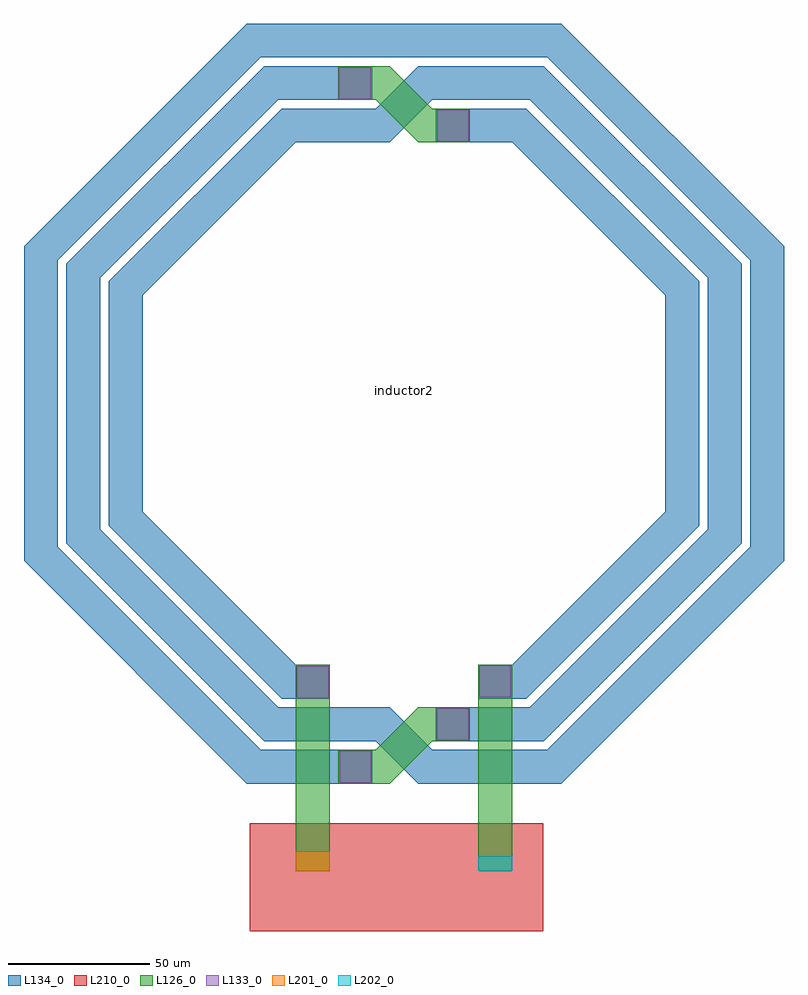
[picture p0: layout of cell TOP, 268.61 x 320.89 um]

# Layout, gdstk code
import gdstk
lib = gdstk.Library(unit=1e-6, precision=1e-09)
def R(c, l, rs):  # rectangles x0, y0, x1, y1
    for r in rs: c.add(gdstk.rectangle(r[:2], r[2:], *l))
def P(c, l, *ps):  # polygons
    for p in ps: c.add(gdstk.Polygon(p, *l))
L126_0 = (126, 0)
L133_0 = (133, 0)
L134_0 = (134, 0)
L201_0 = (201, 0)
L202_0 = (202, 0)
L210_0 = (210, 0)

top = lib.new_cell('TOP')
P(top, L126_0, [(4.31,426.46),(-10.71,441.48),(-23.97,441.48),(-23.97,453.48),(-5.76,453.48),(9.26,438.46),(22.52,438.46),(22.52,426.46)],
  [(-23.97,199.895),(-23.97,211.895),(-10.72,211.895),(4.28,226.895),(22.53,226.895),(22.53,214.895),(9.26,214.895),(-5.74,199.895)])
R(top, L133_0, [(-23.505,200.22,-12.28,211.525), (10.905,215.275,22.13,226.58), (-38.56,230.04,-27.335,241.345), (25.855,230.305,37.08,241.61), (10.98,426.695,22.205,438), (-23.7,441.79,-12.475,453.095)])
R(top, L134_0, [(-11.97,456.5,10.52,468.5)])
P(top, L134_0, [(25.52,229.895),(25.52,241.895),(37.495,241.895),(91.558,295.958),(91.558,372.398),(37.495,426.46),(10.52,426.46),(10.52,438.46),(42.475,438.46),(103.558,377.378),(103.558,290.978),(42.475,229.895)],
  [(-43.925,229.895),(-105.008,290.978),(-105.008,377.378),(-43.925,438.46),(-11.97,438.46),(-11.97,426.46),(-38.945,426.46),(-93.008,372.398),(-93.008,295.958),(-38.945,241.895),(-26.97,241.895),(-26.97,229.895)],
  [(-11.97,426.46),(-11.97,438.46),(-10.71,438.46),(4.31,453.48),(10.52,453.48),(10.52,441.48),(9.29,441.48),(-5.73,426.46)],
  [(10.52,214.895),(10.52,226.895),(43.715,226.895),(106.568,289.748),(106.568,378.628),(43.715,441.48),(10.52,441.48),(10.52,453.48),(48.695,453.48),(118.568,383.608),(118.568,284.768),(48.695,214.895)],
  [(-50.145,214.895),(-120.018,284.768),(-120.018,383.608),(-50.145,453.48),(-11.97,453.48),(-11.97,441.48),(-45.165,441.48),(-108.018,378.628),(-108.018,289.748),(-45.165,226.895),(-11.97,226.895),(-11.97,214.895)],
  [(10.52,199.895),(10.52,211.895),(49.93,211.895),(121.578,283.543),(121.578,384.853),(49.93,456.5),(10.52,456.5),(10.52,468.5),(54.91,468.5),(133.578,389.833),(133.578,278.563),(54.91,199.895)],
  [(-56.36,199.895),(-135.028,278.563),(-135.028,389.833),(-56.36,468.5),(-11.97,468.5),(-11.97,456.5),(-51.38,456.5),(-123.028,384.853),(-123.028,283.543),(-51.38,211.895),(-11.97,211.895),(-11.97,199.895)],
  [(4.29,199.895),(-10.71,214.895),(-11.97,214.895),(-11.97,226.895),(-5.73,226.895),(9.27,211.895),(10.52,211.895),(10.52,199.895)])
R(top, L201_0, [(-38.97,168.87,-26.97,175.91)])
R(top, L202_0, [(25.52,168.895,37.52,174.23)])
R(top, L210_0, [(-55.21,147.605,48.45,185.915)])
top.add(gdstk.FlexPath([(31.52,168.895),(31.52,241.895)], 12, ends="flush", simple_path=True, layer=126, datatype=0))  # L126_0
top.add(gdstk.FlexPath([(-32.97,168.895),(-32.97,241.895)], 12, ends="flush", simple_path=True, layer=126, datatype=0))  # L126_0
top.add(gdstk.Label('inductor2', (-0.725,338.864), layer=63, texttype=0))
top.add(gdstk.Label('  width=12.0\n  space=3.0\n  diameter=15.48\n  turns=3', (-165.038,359.855), layer=63, texttype=0))

lib.write_gds('TOP.gds')
